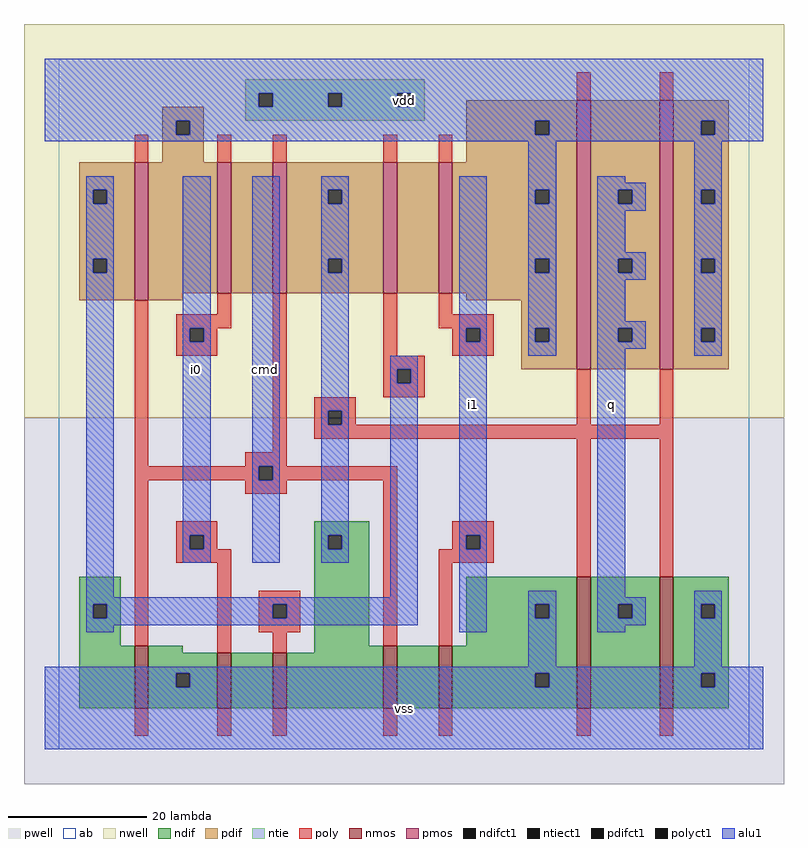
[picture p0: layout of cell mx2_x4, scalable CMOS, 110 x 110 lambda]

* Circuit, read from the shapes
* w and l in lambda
.subckt mx2_x4 cmd i0 i1 q vdd vss
M1 vss cmd n1 VSUBS nfet w=9 l=2
M2 n2 i0 vss VSUBS nfet w=8 l=2
M3 n3 n1 n2 VSUBS nfet w=8 l=2
M4 n4 cmd n3 VSUBS nfet w=9 l=2
M5 vss i1 n4 VSUBS nfet w=9 l=2
M6 q n3 vss VSUBS nfet w=19 l=2 m=2
M7 vdd cmd n1 vdd pfet w=20 l=2
M8 n5 i0 vdd vdd pfet w=19 l=2
M9 n3 cmd n5 vdd pfet w=19 l=2
M10 n6 n1 n3 vdd pfet w=19 l=2
M11 vdd i1 n6 vdd pfet w=19 l=2
M12 q n3 vdd vdd pfet w=39 l=2 m=2
.ends

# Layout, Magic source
magic
tech scmos
<< ab >>
rect 0 0 100 100
<< nwell >>
rect -5 48 105 105
<< pwell >>
rect -5 -5 105 48
<< poly >>
rect 75 94 77 98
rect 87 94 89 98
rect 11 85 13 89
rect 23 85 25 89
rect 31 85 33 89
rect 47 85 49 89
rect 55 85 57 89
rect 11 41 13 65
rect 23 63 25 66
rect 17 61 25 63
rect 17 59 19 61
rect 21 59 23 61
rect 17 57 23 59
rect 31 43 33 66
rect 47 57 49 66
rect 55 63 57 66
rect 55 61 63 63
rect 57 59 59 61
rect 61 59 63 61
rect 57 57 63 59
rect 47 55 53 57
rect 47 53 49 55
rect 51 53 53 55
rect 47 51 53 53
rect 37 49 43 51
rect 37 47 39 49
rect 41 47 43 49
rect 75 47 77 55
rect 87 47 89 55
rect 37 45 89 47
rect 27 41 33 43
rect 11 39 29 41
rect 31 39 49 41
rect 11 15 13 39
rect 27 37 33 39
rect 17 31 23 33
rect 17 29 19 31
rect 21 29 23 31
rect 17 27 25 29
rect 23 14 25 27
rect 29 21 35 23
rect 29 19 31 21
rect 33 19 35 21
rect 29 17 35 19
rect 31 14 33 17
rect 47 15 49 39
rect 57 31 63 33
rect 57 29 59 31
rect 61 29 63 31
rect 55 27 63 29
rect 55 15 57 27
rect 75 25 77 45
rect 87 25 89 45
rect 11 2 13 6
rect 23 2 25 6
rect 31 2 33 6
rect 47 2 49 6
rect 55 2 57 6
rect 75 2 77 6
rect 87 2 89 6
<< ndif >>
rect 3 21 9 25
rect 3 19 5 21
rect 7 19 9 21
rect 3 15 9 19
rect 37 31 45 33
rect 37 29 39 31
rect 41 29 45 31
rect 3 6 11 15
rect 13 14 18 15
rect 37 15 45 29
rect 59 21 75 25
rect 59 19 69 21
rect 71 19 75 21
rect 59 15 75 19
rect 37 14 47 15
rect 13 11 23 14
rect 13 9 17 11
rect 19 9 23 11
rect 13 6 23 9
rect 25 6 31 14
rect 33 6 47 14
rect 49 6 55 15
rect 57 11 75 15
rect 57 9 69 11
rect 71 9 75 11
rect 57 6 75 9
rect 77 21 87 25
rect 77 19 81 21
rect 83 19 87 21
rect 77 6 87 19
rect 89 21 97 25
rect 89 19 93 21
rect 95 19 97 21
rect 89 11 97 19
rect 89 9 93 11
rect 95 9 97 11
rect 89 6 97 9
<< pdif >>
rect 15 91 21 93
rect 59 91 75 94
rect 15 89 17 91
rect 19 89 21 91
rect 59 89 69 91
rect 71 89 75 91
rect 15 85 21 89
rect 59 85 75 89
rect 3 81 11 85
rect 3 79 5 81
rect 7 79 11 81
rect 3 71 11 79
rect 3 69 5 71
rect 7 69 11 71
rect 3 65 11 69
rect 13 66 23 85
rect 25 66 31 85
rect 33 81 47 85
rect 33 79 39 81
rect 41 79 47 81
rect 33 71 47 79
rect 33 69 39 71
rect 41 69 47 71
rect 33 66 47 69
rect 49 66 55 85
rect 57 81 75 85
rect 57 79 69 81
rect 71 79 75 81
rect 57 71 75 79
rect 57 69 69 71
rect 71 69 75 71
rect 57 66 75 69
rect 13 65 18 66
rect 59 65 75 66
rect 67 61 75 65
rect 67 59 69 61
rect 71 59 75 61
rect 67 55 75 59
rect 77 81 87 94
rect 77 79 81 81
rect 83 79 87 81
rect 77 71 87 79
rect 77 69 81 71
rect 83 69 87 71
rect 77 61 87 69
rect 77 59 81 61
rect 83 59 87 61
rect 77 55 87 59
rect 89 91 97 94
rect 89 89 93 91
rect 95 89 97 91
rect 89 81 97 89
rect 89 79 93 81
rect 95 79 97 81
rect 89 71 97 79
rect 89 69 93 71
rect 95 69 97 71
rect 89 61 97 69
rect 89 59 93 61
rect 95 59 97 61
rect 89 55 97 59
<< alu1 >>
rect -2 95 102 100
rect -2 93 29 95
rect 31 93 39 95
rect 41 93 49 95
rect 51 93 102 95
rect -2 91 102 93
rect -2 89 17 91
rect 19 89 69 91
rect 71 89 93 91
rect 95 89 102 91
rect -2 88 102 89
rect 4 81 8 83
rect 4 79 5 81
rect 7 79 8 81
rect 4 71 8 79
rect 4 69 5 71
rect 7 69 8 71
rect 4 22 8 69
rect 18 61 22 83
rect 18 59 19 61
rect 21 59 22 61
rect 18 31 22 59
rect 18 29 19 31
rect 21 29 22 31
rect 18 27 22 29
rect 28 41 32 83
rect 28 39 29 41
rect 31 39 32 41
rect 28 27 32 39
rect 38 81 42 83
rect 38 79 39 81
rect 41 79 42 81
rect 38 71 42 79
rect 38 69 39 71
rect 41 69 42 71
rect 38 49 42 69
rect 58 61 62 83
rect 58 59 59 61
rect 61 59 62 61
rect 38 47 39 49
rect 41 47 42 49
rect 38 31 42 47
rect 38 29 39 31
rect 41 29 42 31
rect 38 27 42 29
rect 48 55 52 57
rect 48 53 49 55
rect 51 53 52 55
rect 48 22 52 53
rect 4 21 52 22
rect 4 19 5 21
rect 7 19 31 21
rect 33 19 52 21
rect 4 18 52 19
rect 58 31 62 59
rect 68 81 72 88
rect 68 79 69 81
rect 71 79 72 81
rect 68 71 72 79
rect 68 69 69 71
rect 71 69 72 71
rect 68 61 72 69
rect 68 59 69 61
rect 71 59 72 61
rect 68 57 72 59
rect 78 82 82 83
rect 78 81 85 82
rect 78 79 81 81
rect 83 79 85 81
rect 78 78 85 79
rect 92 81 96 88
rect 92 79 93 81
rect 95 79 96 81
rect 78 72 82 78
rect 78 71 85 72
rect 78 69 81 71
rect 83 69 85 71
rect 78 68 85 69
rect 92 71 96 79
rect 92 69 93 71
rect 95 69 96 71
rect 78 62 82 68
rect 78 61 85 62
rect 78 59 81 61
rect 83 59 85 61
rect 78 58 85 59
rect 92 61 96 69
rect 92 59 93 61
rect 95 59 96 61
rect 58 29 59 31
rect 61 29 62 31
rect 4 17 8 18
rect 58 17 62 29
rect 68 21 72 23
rect 68 19 69 21
rect 71 19 72 21
rect 68 12 72 19
rect 78 22 82 58
rect 92 57 96 59
rect 78 21 85 22
rect 78 19 81 21
rect 83 19 85 21
rect 78 18 85 19
rect 92 21 96 23
rect 92 19 93 21
rect 95 19 96 21
rect 78 17 82 18
rect 92 12 96 19
rect -2 11 102 12
rect -2 9 17 11
rect 19 9 69 11
rect 71 9 93 11
rect 95 9 102 11
rect -2 0 102 9
<< ntie >>
rect 27 95 53 97
rect 27 93 29 95
rect 31 93 39 95
rect 41 93 49 95
rect 51 93 53 95
rect 27 91 53 93
<< nmos >>
rect 11 6 13 15
rect 23 6 25 14
rect 31 6 33 14
rect 47 6 49 15
rect 55 6 57 15
rect 75 6 77 25
rect 87 6 89 25
<< pmos >>
rect 11 65 13 85
rect 23 66 25 85
rect 31 66 33 85
rect 47 66 49 85
rect 55 66 57 85
rect 75 55 77 94
rect 87 55 89 94
<< polyct1 >>
rect 19 59 21 61
rect 59 59 61 61
rect 49 53 51 55
rect 39 47 41 49
rect 29 39 31 41
rect 19 29 21 31
rect 31 19 33 21
rect 59 29 61 31
<< ndifct1 >>
rect 5 19 7 21
rect 39 29 41 31
rect 69 19 71 21
rect 17 9 19 11
rect 69 9 71 11
rect 81 19 83 21
rect 93 19 95 21
rect 93 9 95 11
<< ntiect1 >>
rect 29 93 31 95
rect 39 93 41 95
rect 49 93 51 95
<< pdifct1 >>
rect 17 89 19 91
rect 69 89 71 91
rect 5 79 7 81
rect 5 69 7 71
rect 39 79 41 81
rect 39 69 41 71
rect 69 79 71 81
rect 69 69 71 71
rect 69 59 71 61
rect 81 79 83 81
rect 81 69 83 71
rect 81 59 83 61
rect 93 89 95 91
rect 93 79 95 81
rect 93 69 95 71
rect 93 59 95 61
<< labels >>
rlabel alu1 20 55 20 55 6 i0
rlabel alu1 30 55 30 55 6 cmd
rlabel alu1 50 6 50 6 6 vss
rlabel alu1 60 50 60 50 6 i1
rlabel ntiect1 50 94 50 94 6 vdd
rlabel alu1 80 50 80 50 6 q
<< end >>
